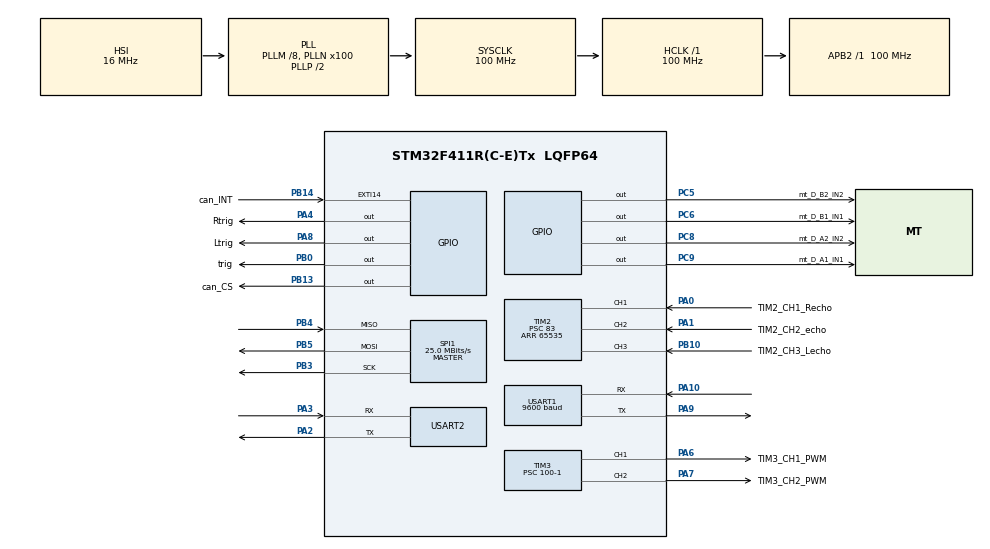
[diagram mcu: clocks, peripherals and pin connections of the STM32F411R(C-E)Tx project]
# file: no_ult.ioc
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Mcu.Family=STM32F4
Mcu.Name=STM32F411R(C-E)Tx
Mcu.Package=LQFP64
NVIC.PriorityGroup=NVIC_PRIORITYGROUP_4
NVIC.TIM2_IRQn=true\:0\:0\:false\:false\:true\:true\:true\:true
NVIC.USART1_IRQn=true\:0\:0\:false\:false\:true\:true\:true\:true
NVIC.USART2_IRQn=true\:0\:0\:false\:false\:true\:true\:true\:true
PA0-WKUP.GPIO_Label=TIM2_CH1_Recho
PA0-WKUP.Signal=S_TIM2_CH1_ETR
PA1.GPIO_Label=TIM2_CH2_echo
PA1.Signal=S_TIM2_CH2
PA10.Mode=Asynchronous
PA10.Signal=USART1_RX
PA13.Mode=Serial_Wire
PA13.Signal=SYS_JTMS-SWDIO
PA14.Mode=Serial_Wire
PA14.Signal=SYS_JTCK-SWCLK
PA2.Mode=Asynchronous
PA2.Signal=USART2_TX
PA3.Mode=Asynchronous
PA3.Signal=USART2_RX
PA4.GPIO_Label=Rtrig
PA4.Signal=GPIO_Output
PA6.GPIO_Label=TIM3_CH1_PWM
PA6.Signal=S_TIM3_CH1
PA7.GPIO_Label=TIM3_CH2_PWM
PA7.Signal=S_TIM3_CH2
PA8.GPIO_Label=Ltrig
PA8.Signal=GPIO_Output
PA9.Mode=Asynchronous
PA9.Signal=USART1_TX
PB0.GPIO_Label=trig
PB0.Signal=GPIO_Output
PB10.GPIO_Label=TIM2_CH3_Lecho
PB10.Signal=S_TIM2_CH3
PB13.GPIO_Label=can_CS
PB13.Signal=GPIO_Output
PB14.GPIO_Label=can_INT
PB14.Signal=GPXTI14
PB3.Mode=Full_Duplex_Master
PB3.Signal=SPI1_SCK
PB4.Mode=Full_Duplex_Master
PB4.Signal=SPI1_MISO
PB5.Mode=Full_Duplex_Master
PB5.Signal=SPI1_MOSI
PC5.GPIO_Label=mt_D_B2_IN2
PC5.Signal=GPIO_Output
PC6.GPIO_Label=mt_D_B1_IN1
PC6.Signal=GPIO_Output
PC8.GPIO_Label=mt_D_A2_IN2
PC8.Signal=GPIO_Output
PC9.GPIO_Label=mt_D_A1_IN1
PC9.Signal=GPIO_Output
PH0\ -\ OSC_IN.Mode=HSE-External-Oscillator
PH0\ -\ OSC_IN.Signal=RCC_OSC_IN
PH1\ -\ OSC_OUT.Mode=HSE-External-Oscillator
PH1\ -\ OSC_OUT.Signal=RCC_OSC_OUT
ProjectManager.HeapSize=0x200
ProjectManager.StackSize=0x400
ProjectManager.TargetToolchain=STM32CubeIDE
RCC.48MHZClocksFreq_Value=50000000
RCC.AHBFreq_Value=100000000
RCC.APB1CLKDivider=RCC_HCLK_DIV2
RCC.APB1Freq_Value=50000000
RCC.APB1TimFreq_Value=100000000
RCC.APB2Freq_Value=100000000
RCC.APB2TimFreq_Value=100000000
RCC.CortexFreq_Value=100000000
RCC.HCLKFreq_Value=100000000
RCC.HSE_VALUE=8000000
RCC.HSI_VALUE=16000000
RCC.LSE_VALUE=32768
RCC.PLLM=4
RCC.PLLN=100
RCC.PLLSourceVirtual=RCC_PLLSOURCE_HSE
RCC.SYSCLKFreq_VALUE=100000000
RCC.SYSCLKSource=RCC_SYSCLKSOURCE_PLLCLK
RCC.VCOOutputFreq_Value=200000000
SH.S_TIM2_CH1_ETR.0=TIM2_CH1,Input_Capture1_from_TI1
SH.S_TIM2_CH2.0=TIM2_CH2,Input_Capture2_from_TI2
SH.S_TIM2_CH3.0=TIM2_CH3,Input_Capture3_from_TI3
SH.S_TIM3_CH1.0=TIM3_CH1,PWM Generation1 CH1
SH.S_TIM3_CH2.0=TIM3_CH2,PWM Generation2 CH2
SPI1.BaudRatePrescaler=SPI_BAUDRATEPRESCALER_4
SPI1.CalculateBaudRate=25.0 MBits/s
SPI1.Direction=SPI_DIRECTION_2LINES
SPI1.Mode=SPI_MODE_MASTER
SPI1.VirtualType=VM_MASTER
TIM11.Prescaler=100-1
TIM2.Channel-Input_Capture1_from_TI1=TIM_CHANNEL_1
TIM2.Channel-Input_Capture2_from_TI2=TIM_CHANNEL_2
TIM2.Channel-Input_Capture3_from_TI3=TIM_CHANNEL_3
TIM2.Period=65535
TIM2.Prescaler=83
TIM3.Channel-PWM\ Generation1\ CH1=TIM_CHANNEL_1
TIM3.Channel-PWM\ Generation2\ CH2=TIM_CHANNEL_2
TIM3.Period=1000-1
TIM3.Prescaler=100-1
USART1.BaudRate=9600
USART1.VirtualMode=VM_ASYNC
USART2.VirtualMode=VM_ASYNC
VP_TIM11_VS_ClockSourceINT.Mode=Enable_Timer
VP_TIM2_VS_ClockSourceINT.Mode=Internal
VP_TIM3_VS_ClockSourceINT.Mode=Internal
board=custom

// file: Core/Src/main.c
/* USER CODE BEGIN Header */
/**
  ******************************************************************************
  * @file    main.c
  * @brief   Ultrasonic 3 sensors (TIM2 IC) + Bluetooth(UART1) + Auto drive
  *          + MCP2515 CAN(Raspberry Pi color-recognition speed cmd) + Camera mode
  ******************************************************************************
  */
/* USER CODE END Header */
#include "main.h"
#include "spi.h"
#include "tim.h"
#include "usart.h"
#include "gpio.h"

/* USER CODE BEGIN Includes */
#include "ult.h"
#include "delay.h"
#include "auto.h"
#include "mot.h"
#include "bt.h"
#include "can.h"      // ✅ 추가: MCP2515 CAN 수신 (라즈베리파이 색인식 속도명령)
#include "dbgserial.h" // ✅ 추가: USART2 = 0/1/2 속도명령 테스트 입력 + 5초 상태 출력
#include <stdio.h>
/* USER CODE END Includes */

/* USER CODE BEGIN PD */
#define TRIG_PERIOD_MS   35    // ✅ 35ms마다 1회 트리거 (간섭 있으면 40)
#define AUTO_WARM_MS     400
#define CAN_POLL_PERIOD_MS 20  // ✅ 추가: CAN 수신 폴링 주기
#define DBG2_PRINT_PERIOD_MS 5000  // ✅ 추가: USART2로 상태 출력하는 주기(5초)
#define NOULTRA_BASE_SPD 530   // ✅ 추가: 'x' 모드(초음파 없음) 직진 전용 PWM. auto.c의 BASE_SPD와 동일값
/* USER CODE END PD */

/* USER CODE BEGIN PM */
#ifdef __GNUC__
#define PUTCHAR_PROTOTYPE int __io_putchar(int ch)
#else
#define PUTCHAR_PROTOTYPE int fputc(int ch, FILE *f)
#endif

PUTCHAR_PROTOTYPE
{
  if(ch == '\n')
    HAL_UART_Transmit(&huart1, (uint8_t*)"\r", 1, 0xFFFF);
  HAL_UART_Transmit(&huart1, (uint8_t*)&ch, 1, 0xFFFF);
  return ch;
}
/* USER CODE END PM */

/* USER CODE BEGIN PV */
static uint8_t bt_rx = 0;
static uint8_t dbg2_rx = 0;   // ✅ 추가: USART2 수신 바이트
/* USER CODE END PV */

void SystemClock_Config(void);
/* USER CODE BEGIN PFP */
void HAL_UART_RxCpltCallback(UART_HandleTypeDef *huart)
{
    if (huart->Instance == USART1)
    {
        BT_OnRxByte(bt_rx);
        HAL_UART_Receive_IT(&huart1, &bt_rx, 1);
    }
    else if (huart->Instance == USART2)   // ✅ 추가: USART2 = 속도명령 테스트 입력
    {
        DBG_OnRxByte(dbg2_rx);
        HAL_UART_Receive_IT(&huart2, &dbg2_rx, 1);
    }
}

void HAL_TIM_IC_CaptureCallback(TIM_HandleTypeDef *htim)
{
    ULT_TIM_IC_CaptureCallback(htim);
}
/* USER CODE END PFP */

int main(void)
{

  /* MCU Configuration--------------------------------------------------------*/

  /* Reset of all peripherals, Initializes the Flash interface and the Systick. */
  HAL_Init();

  /* Configure the system clock */
  SystemClock_Config();

  /* Initialize all configured peripherals */
  MX_GPIO_Init();
  MX_USART2_UART_Init();
  MX_TIM3_Init();
  MX_USART1_UART_Init();
  MX_TIM2_Init();
  MX_TIM11_Init();
  MX_SPI1_Init();
  /* USER CODE BEGIN 2 */
  BT_Init();
  HAL_UART_Receive_IT(&huart1, &bt_rx, 1);

  DBG_Init();                              // ✅ 추가: USART2 디버그 라인 초기화
  HAL_UART_Receive_IT(&huart2, &dbg2_rx, 1); // ✅ 추가: USART2 1바이트 수신 인터럽트 등록

  HAL_TIM_PWM_Start(&htim3, TIM_CHANNEL_1);
  HAL_TIM_PWM_Start(&htim3, TIM_CHANNEL_2);
  __HAL_TIM_SET_COMPARE(&htim3, TIM_CHANNEL_1, 0);
  __HAL_TIM_SET_COMPARE(&htim3, TIM_CHANNEL_2, 0);

  HAL_TIM_Base_Start(&htim11);

  ULT_Init();
  CAN_Init();   // ✅ 추가: MCP2515 리셋 + 500kbps 설정 + Normal Mode 진입

  printf("\r\nBOOT OK\r\n");
  /* USER CODE END 2 */

  /* Infinite loop */
  /* USER CODE BEGIN WHILE */
  static uint32_t last_trig_ms = 0;
  static uint32_t auto_warm_until = 0;
  static uint32_t last_can_poll_ms = 0;   // ✅ 추가

  static uint16_t d_left=0, d_front=0, d_right=0;

  static DriveMode_t last_mode = MODE_MANUAL;

  static uint32_t last_dbg_ms = 0;
  static uint32_t last_manual_ms = 0;
  static uint32_t last_dbg2_ms = 0;   // ✅ 추가: USART2 5초 출력 주기용

  // ✅ 전방을 더 자주: F-F-L-F-R
  static const uint8_t trig_seq[5] = {1, 1, 0, 1, 2};
  static uint8_t seq_i = 0;

  while (1)
  {
      uint32_t now = HAL_GetTick();

      BT_Process();
      DriveMode_t mode = BT_GetMode();

      DBG_Process();   // ✅ 추가: USART2로 들어온 0/1/2 키 처리 (모드 무관, 항상 동작)

      // ✅ CAN은 모드와 무관하게 항상 최신 상태로 폴링 (모드 전환 직후에도 바로 반영되게)
      if (now - last_can_poll_ms >= CAN_POLL_PERIOD_MS)
      {
          last_can_poll_ms = now;
          CAN_Poll();
      }

      // ✅ 추가: 5초마다 USART2로 현재 속도명령/배율 + 초음파 거리 출력 (모드 무관)
      if (now - last_dbg2_ms >= DBG2_PRINT_PERIOD_MS)
      {
          last_dbg2_ms = now;
          DBG_PrintStatus(d_left, d_front, d_right);
      }

      if (mode != last_mode)
      {
          Mot_Stop();

          if (mode == MODE_AUTO || mode == MODE_CAMERA)
          {
              Auto_Init();
              d_left = d_front = d_right = 0;

              seq_i = 0;
              last_trig_ms = now;
              auto_warm_until = now + AUTO_WARM_MS;

              printf(mode == MODE_AUTO ? "[MODE] AUTO\r\n" : "[MODE] CAMERA\r\n");
          }
          else if (mode == MODE_CAMERA_NO_ULTRA)
          {
              // ✅ 추가: 초음파 FSM 자체를 안 쓰므로 Auto_Init() 불필요.
              // 워밍업만 동일하게 줘서 모드 전환 직후 갑자기 튀어나가지 않게 함.
              auto_warm_until = now + AUTO_WARM_MS;
              printf("[MODE] CAMERA_NO_ULTRA (x)\r\n");
          }
          else
          {
              printf("[MODE] MANUAL\r\n");
          }

          last_mode = mode;
      }

      if (mode == MODE_AUTO || mode == MODE_CAMERA)   // ✅ 두 모드 모두 초음파 FSM 작동
      {
          if (now < auto_warm_until)
          {
              Mot_Stop();
              continue;
          }

          // (1) 트리거
          if (now - last_trig_ms >= TRIG_PERIOD_MS)
          {
              last_trig_ms = now;
              ULT_Trigger(trig_seq[seq_i]);
              seq_i = (seq_i + 1) % 5;
          }

          // (2) 타임아웃 처리
          ULT_Update();

          // (3) 거리 갱신 (0도 갱신)
          if (ULT_IsReady(0)) { d_left  = ULT_GetDistance(0); ULT_ClearReady(0); }
          if (ULT_IsReady(1)) { d_front = ULT_GetDistance(1); ULT_ClearReady(1); }
          if (ULT_IsReady(2)) { d_right = ULT_GetDistance(2); ULT_ClearReady(2); }

          // (4) 자율주행
          // ✅ AUTO 모드: speed_scale=1.0 (CAN 영향 없음, 기존 동작 그대로)
          // ✅ CAMERA 모드: 라즈베리파이가 보낸 색인식 속도배율 적용
          float speed_scale = (mode == MODE_CAMERA) ? CAN_GetSpeedScale() : 1.0f;
          Auto_Update(d_left, d_front, d_right, speed_scale);

          // (5) 디버그
          if (now - last_dbg_ms >= 500)
          {
              last_dbg_ms = now;
              uint32_t arr  = __HAL_TIM_GET_AUTORELOAD(&htim3);
              uint32_t ccr1 = __HAL_TIM_GET_COMPARE(&htim3, TIM_CHANNEL_1);
              uint32_t ccr2 = __HAL_TIM_GET_COMPARE(&htim3, TIM_CHANNEL_2);

              if (mode == MODE_CAMERA)
              {
                  // 카메라 모드에서는 CAN cmd/age + FSM 상태(state)도 같이 출력
                  // state: R=직진/조향중, P=턴진입대기, L/r=좌/우회전중
                  printf("[CAM] state:%c L:%u F:%u R:%u | CAN_cmd:%u scale:%d%% age:%lums | ARR:%lu CCR1:%lu CCR2:%lu\r\n",
                         Auto_GetStateChar(),
                         d_left, d_front, d_right,
                         CAN_GetSpeedCmd(), (int)(speed_scale * 100),
                         (unsigned long)CAN_GetLastRxAgeMs(),
                         (unsigned long)arr, (unsigned long)ccr1, (unsigned long)ccr2);
              }
              else
              {
                  printf("[AUTO] state:%c L:%u F:%u R:%u | ARR:%lu CCR1:%lu CCR2:%lu\r\n",
                         Auto_GetStateChar(),
                         d_left, d_front, d_right,
                         (unsigned long)arr, (unsigned long)ccr1, (unsigned long)ccr2);
              }
          }
      }
      else if (mode == MODE_CAMERA_NO_ULTRA)
      {
          // ✅ 추가: 초음파 트리거/타임아웃/거리갱신/Auto_Update 전부 호출 안 함.
          // 시연 중 초음파가 엉뚱한 곳을 가리키며 이상하게 회전하던 문제를 원천적으로 제거.
          // 오직 CAN 색신호(0=정지/1=저속/2=정속, 5초 페일세이프)로만 속도를 조절하며 직진.

          if (now < auto_warm_until)
          {
              Mot_Stop();
              continue;
          }

          float speed_scale = CAN_GetSpeedScale();
          int pwm = (int)(NOULTRA_BASE_SPD * speed_scale);

          MotorA_Control(pwm, DIR_FORWARD);
          MotorB_Control(pwm, DIR_FORWARD);

          if (now - last_dbg_ms >= 500)
          {
              last_dbg_ms = now;
              printf("[CAM_NOULTRA] CAN_cmd:%u scale:%d%% age:%lums | pwm:%d\r\n",
                     CAN_GetSpeedCmd(), (int)(speed_scale * 100),
                     (unsigned long)CAN_GetLastRxAgeMs(), pwm);
          }
      }
      else
      {
          if (now - last_manual_ms >= 400)
          {
              last_manual_ms = now;
              printf("[MANUAL]\r\n");
          }
      }
  }
    /* USER CODE END WHILE */

}

void SystemClock_Config(void)
{
  RCC_OscInitTypeDef RCC_OscInitStruct = {0};
  RCC_ClkInitTypeDef RCC_ClkInitStruct = {0};

  __HAL_RCC_PWR_CLK_ENABLE();
  __HAL_PWR_VOLTAGESCALING_CONFIG(PWR_REGULATOR_VOLTAGE_SCALE1);

  RCC_OscInitStruct.OscillatorType = RCC_OSCILLATORTYPE_HSI;
  RCC_OscInitStruct.HSIState = RCC_HSI_ON;
  RCC_OscInitStruct.HSICalibrationValue = RCC_HSICALIBRATION_DEFAULT;
  RCC_OscInitStruct.PLL.PLLState = RCC_PLL_ON;
  RCC_OscInitStruct.PLL.PLLSource = RCC_PLLSOURCE_HSI;
  RCC_OscInitStruct.PLL.PLLM = 8;
  RCC_OscInitStruct.PLL.PLLN = 100;
  RCC_OscInitStruct.PLL.PLLP = RCC_PLLP_DIV2;
  RCC_OscInitStruct.PLL.PLLQ = 4;
  if (HAL_RCC_OscConfig(&RCC_OscInitStruct) != HAL_OK)
  {
    Error_Handler();
  }

  RCC_ClkInitStruct.ClockType = RCC_CLOCKTYPE_HCLK|RCC_CLOCKTYPE_SYSCLK
                              |RCC_CLOCKTYPE_PCLK1|RCC_CLOCKTYPE_PCLK2;
  RCC_ClkInitStruct.SYSCLKSource = RCC_SYSCLKSOURCE_PLLCLK;
  RCC_ClkInitStruct.AHBCLKDivider = RCC_SYSCLK_DIV1;
  RCC_ClkInitStruct.APB1CLKDivider = HAL_RCC_GetPCLK1Freq() > 42000000 ? RCC_HCLK_DIV2 : RCC_HCLK_DIV1;
  RCC_ClkInitStruct.APB2CLKDivider = RCC_HCLK_DIV1;

  if (HAL_RCC_ClockConfig(&RCC_ClkInitStruct, FLASH_LATENCY_3) != HAL_OK)
  {
    Error_Handler();
  }
}

void Error_Handler(void)
{
  __disable_irq();
  while (1)
  {
  }
}
